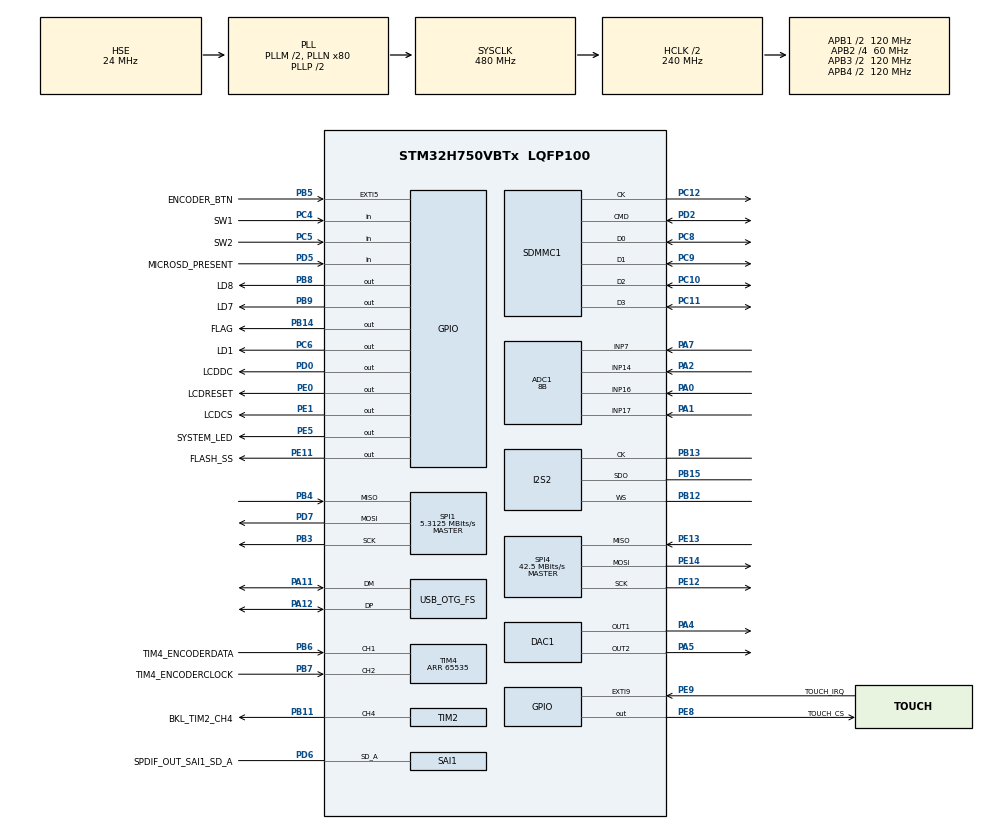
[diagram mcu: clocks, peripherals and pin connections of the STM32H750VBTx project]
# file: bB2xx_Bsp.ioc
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ADC1.Channel-0\#ChannelRegularConversion=ADC_CHANNEL_16
ADC1.Channel-1\#ChannelRegularConversion=ADC_CHANNEL_17
ADC1.Channel-2\#ChannelRegularConversion=ADC_CHANNEL_14
ADC1.Channel-3\#ChannelRegularConversion=ADC_CHANNEL_7
ADC1.ConversionDataManagement=ADC_CONVERSIONDATA_DMA_CIRCULAR
ADC1.EOCSelection=ADC_EOC_SEQ_CONV
ADC1.ExternalTrigConv=ADC_EXTERNALTRIG_T15_TRGO
ADC1.NbrOfConversion=4
ADC1.NbrOfConversionFlag=1
ADC1.OffsetNumber-0\#ChannelRegularConversion=ADC_OFFSET_NONE
ADC1.OffsetNumber-1\#ChannelRegularConversion=ADC_OFFSET_NONE
ADC1.OffsetNumber-2\#ChannelRegularConversion=ADC_OFFSET_NONE
ADC1.OffsetNumber-3\#ChannelRegularConversion=ADC_OFFSET_NONE
ADC1.OffsetSignedSaturation-0\#ChannelRegularConversion=DISABLE
ADC1.OffsetSignedSaturation-1\#ChannelRegularConversion=DISABLE
ADC1.OffsetSignedSaturation-2\#ChannelRegularConversion=DISABLE
ADC1.OffsetSignedSaturation-3\#ChannelRegularConversion=DISABLE
ADC1.OversamplingMode=ENABLE
ADC1.Rank-0\#ChannelRegularConversion=1
ADC1.Rank-1\#ChannelRegularConversion=2
ADC1.Rank-2\#ChannelRegularConversion=3
ADC1.Rank-3\#ChannelRegularConversion=4
ADC1.Ratio=8
ADC1.Resolution=ADC_RESOLUTION_8B
ADC1.RightBitShift=ADC_RIGHTBITSHIFT_3
ADC1.SamplingTime-0\#ChannelRegularConversion=ADC_SAMPLETIME_8CYCLES_5
ADC1.SamplingTime-1\#ChannelRegularConversion=ADC_SAMPLETIME_8CYCLES_5
ADC1.SamplingTime-2\#ChannelRegularConversion=ADC_SAMPLETIME_8CYCLES_5
ADC1.SamplingTime-3\#ChannelRegularConversion=ADC_SAMPLETIME_8CYCLES_5
ADC1.master=1
CORTEX_M7.AccessPermission-Cortex_Memory_Protection_Unit_Region0_Settings=MPU_REGION_FULL_ACCESS
CORTEX_M7.AccessPermission-Cortex_Memory_Protection_Unit_Region1_Settings=MPU_REGION_FULL_ACCESS
CORTEX_M7.BaseAddress-Cortex_Memory_Protection_Unit_Region0_Settings=0x38000000
CORTEX_M7.BaseAddress-Cortex_Memory_Protection_Unit_Region1_Settings=0x20000000
CORTEX_M7.CPU_DCache=Enabled
CORTEX_M7.CPU_ICache=Enabled
CORTEX_M7.Enable-Cortex_Memory_Protection_Unit_Region0_Settings=MPU_REGION_ENABLE
CORTEX_M7.Enable-Cortex_Memory_Protection_Unit_Region1_Settings=MPU_REGION_ENABLE
CORTEX_M7.MPU_Control=MPU_PRIVILEGED_DEFAULT
CORTEX_M7.Size-Cortex_Memory_Protection_Unit_Region0_Settings=MPU_REGION_SIZE_64KB
CORTEX_M7.Size-Cortex_Memory_Protection_Unit_Region1_Settings=MPU_REGION_SIZE_128KB
DAC1.DAC_Channel-DAC_OUT2_ExtAndInt=DAC_CHANNEL_2
DAC1.DAC_Trigger-DAC_OUT1_ExtAndInt=DAC_TRIGGER_T7_TRGO
DAC1.DAC_Trigger-DAC_OUT2_ExtAndInt=DAC_TRIGGER_T7_TRGO
Dma.ADC1.4.Direction=DMA_PERIPH_TO_MEMORY
Dma.ADC1.4.EventEnable=DISABLE
Dma.ADC1.4.FIFOMode=DMA_FIFOMODE_DISABLE
Dma.ADC1.4.Instance=DMA1_Stream4
Dma.ADC1.4.MemDataAlignment=DMA_MDATAALIGN_HALFWORD
Dma.ADC1.4.MemInc=DMA_MINC_ENABLE
Dma.ADC1.4.Mode=DMA_CIRCULAR
Dma.ADC1.4.PeriphDataAlignment=DMA_PDATAALIGN_HALFWORD
Dma.ADC1.4.PeriphInc=DMA_PINC_DISABLE
Dma.ADC1.4.Polarity=HAL_DMAMUX_REQ_GEN_RISING
Dma.ADC1.4.Priority=DMA_PRIORITY_LOW
Dma.ADC1.4.RequestNumber=1
Dma.ADC1.4.SignalID=NONE
Dma.ADC1.4.SyncEnable=DISABLE
Dma.ADC1.4.SyncPolarity=HAL_DMAMUX_SYNC_NO_EVENT
Dma.ADC1.4.SyncRequestNumber=1
Dma.ADC1.4.SyncSignalID=NONE
Dma.DAC1_CH1.1.Direction=DMA_MEMORY_TO_PERIPH
Dma.DAC1_CH1.1.EventEnable=DISABLE
Dma.DAC1_CH1.1.FIFOMode=DMA_FIFOMODE_DISABLE
Dma.DAC1_CH1.1.Instance=DMA1_Stream0
Dma.DAC1_CH1.1.MemDataAlignment=DMA_MDATAALIGN_HALFWORD
Dma.DAC1_CH1.1.MemInc=DMA_MINC_ENABLE
Dma.DAC1_CH1.1.Mode=DMA_CIRCULAR
Dma.DAC1_CH1.1.PeriphDataAlignment=DMA_PDATAALIGN_HALFWORD
Dma.DAC1_CH1.1.PeriphInc=DMA_PINC_DISABLE
Dma.DAC1_CH1.1.Polarity=HAL_DMAMUX_REQ_GEN_RISING
Dma.DAC1_CH1.1.Priority=DMA_PRIORITY_LOW
Dma.DAC1_CH1.1.RequestNumber=1
Dma.DAC1_CH1.1.SignalID=NONE
Dma.DAC1_CH1.1.SyncEnable=DISABLE
Dma.DAC1_CH1.1.SyncPolarity=HAL_DMAMUX_SYNC_NO_EVENT
Dma.DAC1_CH1.1.SyncRequestNumber=1
Dma.DAC1_CH1.1.SyncSignalID=NONE
Dma.Request0=SPI1_TX
Dma.Request1=DAC1_CH1
Dma.Request2=SAI1_A
Dma.Request3=SPI2_TX
Dma.Request4=ADC1
Dma.Request5=SPI4_RX
Dma.Request6=SPI4_TX
Dma.SAI1_A.2.Direction=DMA_MEMORY_TO_PERIPH
Dma.SAI1_A.2.EventEnable=DISABLE
Dma.SAI1_A.2.FIFOMode=DMA_FIFOMODE_DISABLE
Dma.SAI1_A.2.Instance=DMA1_Stream2
Dma.SAI1_A.2.MemDataAlignment=DMA_MDATAALIGN_HALFWORD
Dma.SAI1_A.2.MemInc=DMA_MINC_ENABLE
Dma.SAI1_A.2.Mode=DMA_CIRCULAR
Dma.SAI1_A.2.PeriphDataAlignment=DMA_PDATAALIGN_HALFWORD
Dma.SAI1_A.2.PeriphInc=DMA_PINC_DISABLE
Dma.SAI1_A.2.Polarity=HAL_DMAMUX_REQ_GEN_RISING
Dma.SAI1_A.2.Priority=DMA_PRIORITY_LOW
Dma.SAI1_A.2.RequestNumber=1
Dma.SAI1_A.2.SignalID=NONE
Dma.SAI1_A.2.SyncEnable=DISABLE
Dma.SAI1_A.2.SyncPolarity=HAL_DMAMUX_SYNC_NO_EVENT
Dma.SAI1_A.2.SyncRequestNumber=1
Dma.SAI1_A.2.SyncSignalID=NONE
Dma.SPI1_TX.0.Direction=DMA_MEMORY_TO_PERIPH
Dma.SPI1_TX.0.EventEnable=DISABLE
Dma.SPI1_TX.0.FIFOMode=DMA_FIFOMODE_DISABLE
Dma.SPI1_TX.0.Instance=DMA1_Stream1
Dma.SPI1_TX.0.MemDataAlignment=DMA_MDATAALIGN_BYTE
Dma.SPI1_TX.0.MemInc=DMA_MINC_ENABLE
Dma.SPI1_TX.0.Mode=DMA_NORMAL
Dma.SPI1_TX.0.PeriphDataAlignment=DMA_PDATAALIGN_BYTE
Dma.SPI1_TX.0.PeriphInc=DMA_PINC_DISABLE
Dma.SPI1_TX.0.Polarity=HAL_DMAMUX_REQ_GEN_RISING
Dma.SPI1_TX.0.Priority=DMA_PRIORITY_LOW
Dma.SPI1_TX.0.RequestNumber=1
Dma.SPI1_TX.0.SignalID=NONE
Dma.SPI1_TX.0.SyncEnable=DISABLE
Dma.SPI1_TX.0.SyncPolarity=HAL_DMAMUX_SYNC_NO_EVENT
Dma.SPI1_TX.0.SyncRequestNumber=1
Dma.SPI1_TX.0.SyncSignalID=NONE
Dma.SPI2_TX.3.Direction=DMA_MEMORY_TO_PERIPH
Dma.SPI2_TX.3.EventEnable=DISABLE
Dma.SPI2_TX.3.FIFOMode=DMA_FIFOMODE_DISABLE
Dma.SPI2_TX.3.Instance=DMA1_Stream3
Dma.SPI2_TX.3.MemDataAlignment=DMA_MDATAALIGN_WORD
Dma.SPI2_TX.3.MemInc=DMA_MINC_ENABLE
Dma.SPI2_TX.3.Mode=DMA_CIRCULAR
Dma.SPI2_TX.3.PeriphDataAlignment=DMA_PDATAALIGN_WORD
Dma.SPI2_TX.3.PeriphInc=DMA_PINC_DISABLE
Dma.SPI2_TX.3.Polarity=HAL_DMAMUX_REQ_GEN_RISING
Dma.SPI2_TX.3.Priority=DMA_PRIORITY_LOW
Dma.SPI2_TX.3.RequestNumber=1
Dma.SPI2_TX.3.SignalID=NONE
Dma.SPI2_TX.3.SyncEnable=DISABLE
Dma.SPI2_TX.3.SyncPolarity=HAL_DMAMUX_SYNC_NO_EVENT
Dma.SPI2_TX.3.SyncRequestNumber=1
Dma.SPI2_TX.3.SyncSignalID=NONE
Dma.SPI4_RX.5.Direction=DMA_PERIPH_TO_MEMORY
Dma.SPI4_RX.5.EventEnable=DISABLE
Dma.SPI4_RX.5.FIFOMode=DMA_FIFOMODE_DISABLE
Dma.SPI4_RX.5.Instance=DMA1_Stream5
Dma.SPI4_RX.5.MemDataAlignment=DMA_MDATAALIGN_BYTE
Dma.SPI4_RX.5.MemInc=DMA_MINC_ENABLE
Dma.SPI4_RX.5.Mode=DMA_NORMAL
Dma.SPI4_RX.5.PeriphDataAlignment=DMA_PDATAALIGN_BYTE
Dma.SPI4_RX.5.PeriphInc=DMA_PINC_DISABLE
Dma.SPI4_RX.5.Polarity=HAL_DMAMUX_REQ_GEN_RISING
Dma.SPI4_RX.5.Priority=DMA_PRIORITY_LOW
Dma.SPI4_RX.5.RequestNumber=1
Dma.SPI4_RX.5.SignalID=NONE
Dma.SPI4_RX.5.SyncEnable=DISABLE
Dma.SPI4_RX.5.SyncPolarity=HAL_DMAMUX_SYNC_NO_EVENT
Dma.SPI4_RX.5.SyncRequestNumber=1
Dma.SPI4_RX.5.SyncSignalID=NONE
Dma.SPI4_TX.6.Direction=DMA_MEMORY_TO_PERIPH
Dma.SPI4_TX.6.EventEnable=DISABLE
Dma.SPI4_TX.6.FIFOMode=DMA_FIFOMODE_DISABLE
Dma.SPI4_TX.6.Instance=DMA1_Stream6
Dma.SPI4_TX.6.MemDataAlignment=DMA_MDATAALIGN_BYTE
Dma.SPI4_TX.6.MemInc=DMA_MINC_ENABLE
Dma.SPI4_TX.6.Mode=DMA_NORMAL
Dma.SPI4_TX.6.PeriphDataAlignment=DMA_PDATAALIGN_BYTE
Dma.SPI4_TX.6.PeriphInc=DMA_PINC_DISABLE
Dma.SPI4_TX.6.Polarity=HAL_DMAMUX_REQ_GEN_RISING
Dma.SPI4_TX.6.Priority=DMA_PRIORITY_LOW
Dma.SPI4_TX.6.RequestNumber=1
Dma.SPI4_TX.6.SignalID=NONE
Dma.SPI4_TX.6.SyncEnable=DISABLE
Dma.SPI4_TX.6.SyncPolarity=HAL_DMAMUX_SYNC_NO_EVENT
Dma.SPI4_TX.6.SyncRequestNumber=1
Dma.SPI4_TX.6.SyncSignalID=NONE
FATFS.BSP.number=1
FATFS.USE_DMA_CODE_SD=0
FATFS._FS_LOCK=24
FATFS0.BSP.STBoard=false
FATFS0.BSP.api=Unknown
FATFS0.BSP.i2caddr=0
FATFS0.BSP.instance=PD5
FATFS0.BSP.ip=GPIO
FATFS0.BSP.mode=Input
FATFS0.BSP.name=Detect_SDIO
FATFS0.BSP.solution=PD5
I2S2.AudioFreq=I2S_AUDIOFREQ_48K
I2S2.Data24BitAlignment=I2S_DATA_24BIT_ALIGNMENT_RIGHT
I2S2.DataFormat=I2S_DATAFORMAT_16B
I2S2.ErrorAudioFreq=-0.29 %
I2S2.FullDuplexMode=I2S_MODE_SLAVE_FD
I2S2.Instance=SPI$Index
I2S2.RealAudioFreq=47.86 KHz
I2S2.VirtualMode=I2S_MODE_MASTER
Mcu.Family=STM32H7
Mcu.Name=STM32H750VBTx
Mcu.Package=LQFP100
NVIC.DMA1_Stream0_IRQn=true\:0\:0\:false\:false\:true\:false\:true
NVIC.DMA1_Stream1_IRQn=true\:0\:0\:false\:false\:true\:false\:true
NVIC.DMA1_Stream2_IRQn=true\:0\:0\:false\:false\:true\:false\:true
NVIC.DMA1_Stream3_IRQn=true\:0\:0\:false\:false\:true\:false\:true
NVIC.DMA1_Stream4_IRQn=true\:0\:0\:false\:false\:true\:false\:true
NVIC.DMA1_Stream5_IRQn=true\:0\:0\:false\:false\:true\:false\:true
NVIC.DMA1_Stream6_IRQn=true\:0\:0\:false\:false\:true\:false\:true
NVIC.EXTI9_5_IRQn=true\:0\:0\:false\:false\:true\:true\:true
NVIC.PriorityGroup=NVIC_PRIORITYGROUP_4
NVIC.SPI1_IRQn=true\:0\:0\:false\:false\:true\:false\:true
NVIC.SPI4_IRQn=true\:0\:0\:false\:false\:true\:false\:true
NVIC.TIM17_IRQn=true\:0\:0\:false\:false\:true\:true\:true
NVIC.TIM4_IRQn=true\:0\:0\:false\:false\:true\:true\:true
NVIC.TIM7_IRQn=true\:0\:0\:false\:false\:true\:true\:true
PA0.Mode=IN16-Single-Ended
PA0.Signal=ADC1_INP16
PA1.Mode=IN17-Single-Ended
PA1.Signal=ADC1_INP17
PA11.Mode=Device_Only
PA11.Signal=USB_OTG_FS_DM
PA12.Mode=Device_Only
PA12.Signal=USB_OTG_FS_DP
PA13\ (JTMS/SWDIO).Mode=Serial_Wire
PA13\ (JTMS/SWDIO).Signal=DEBUG_JTMS-SWDIO
PA14\ (JTCK/SWCLK).Mode=Serial_Wire
PA14\ (JTCK/SWCLK).Signal=DEBUG_JTCK-SWCLK
PA2.Signal=ADCx_INP14
PA4.Signal=COMP_DAC11_group
PA5.Signal=COMP_DAC12_group
PA7.Signal=ADCx_INP7
PB11.GPIO_Label=BKL_TIM2_CH4
PB11.GPIO_PuPd=GPIO_PULLDOWN
PB11.Signal=S_TIM2_CH4
PB12.Mode=Half_Duplex_Master
PB12.Signal=I2S2_WS
PB13.Mode=Half_Duplex_Master
PB13.Signal=I2S2_CK
PB14.GPIO_Label=FLAG
PB14.Signal=GPIO_Output
PB15.Mode=Half_Duplex_Master
PB15.Signal=I2S2_SDO
PB3\ (JTDO/TRACESWO).Mode=Full_Duplex_Master
PB3\ (JTDO/TRACESWO).Signal=SPI1_SCK
PB4\ (NJTRST).Mode=Full_Duplex_Master
PB4\ (NJTRST).Signal=SPI1_MISO
PB5.GPIO_Label=ENCODER_BTN
PB5.GPIO_ModeDefaultEXTI=GPIO_MODE_IT_FALLING
PB5.GPIO_PuPd=GPIO_PULLUP
PB5.Signal=GPXTI5
PB6.GPIO_Label=TIM4_ENCODERDATA
PB6.GPIO_PuPd=GPIO_PULLUP
PB6.Signal=S_TIM4_CH1
PB7.GPIO_Label=TIM4_ENCODERCLOCK
PB7.GPIO_PuPd=GPIO_PULLUP
PB7.Signal=S_TIM4_CH2
PB8.GPIO_Label=LD8
PB8.Signal=GPIO_Output
PB9.GPIO_Label=LD7
PB9.Signal=GPIO_Output
PC10.Mode=SD_4_bits_Wide_bus
PC10.Signal=SDMMC1_D2
PC11.Mode=SD_4_bits_Wide_bus
PC11.Signal=SDMMC1_D3
PC12.GPIO_PuPd=GPIO_PULLUP
PC12.Mode=SD_4_bits_Wide_bus
PC12.Signal=SDMMC1_CK
PC4.GPIO_Label=SW1
PC4.GPIO_PuPd=GPIO_PULLUP
PC4.Signal=GPIO_Input
PC5.GPIO_Label=SW2
PC5.GPIO_PuPd=GPIO_PULLUP
PC5.Signal=GPIO_Input
PC6.GPIO_Label=LD1
PC6.Signal=GPIO_Output
PC8.GPIO_PuPd=GPIO_PULLUP
PC8.Mode=SD_4_bits_Wide_bus
PC8.Signal=SDMMC1_D0
PC9.Mode=SD_4_bits_Wide_bus
PC9.Signal=SDMMC1_D1
PD0.GPIO_Label=LCDDC
PD0.Signal=GPIO_Output
PD2.GPIO_PuPd=GPIO_PULLUP
PD2.Mode=SD_4_bits_Wide_bus
PD2.Signal=SDMMC1_CMD
PD5.GPIO_Label=MICROSD_PRESENT
PD5.GPIO_PuPd=GPIO_PULLUP
PD5.Signal=GPIO_Input
PD6.GPIO_Label=SPDIF_OUT_SAI1_SD_A
PD6.Mode=SAI_A_SPDIF
PD6.Signal=SAI1_SD_A
PD7.Mode=Full_Duplex_Master
PD7.Signal=SPI1_MOSI
PE0.GPIO_Label=LCDRESET
PE0.Signal=GPIO_Output
PE1.GPIO_Label=LCDCS
PE1.PinState=GPIO_PIN_SET
PE1.Signal=GPIO_Output
PE11.GPIO_Label=FLASH_SS
PE11.Signal=GPIO_Output
PE12.Mode=Full_Duplex_Master
PE12.Signal=SPI4_SCK
PE13.Mode=Full_Duplex_Master
PE13.Signal=SPI4_MISO
PE14.Mode=Full_Duplex_Master
PE14.Signal=SPI4_MOSI
PE5.GPIO_Label=SYSTEM_LED
PE5.Signal=GPIO_Output
PE8.GPIO_Label=TOUCH_CS
PE8.PinState=GPIO_PIN_SET
PE8.Signal=GPIO_Output
PE9.GPIO_Label=TOUCH_IRQ
PE9.GPIO_ModeDefaultEXTI=GPIO_MODE_IT_FALLING
PE9.GPIO_PuPd=GPIO_PULLUP
PE9.Signal=GPXTI9
PH0-OSC_IN\ (PH0).Mode=HSE-External-Oscillator
PH0-OSC_IN\ (PH0).Signal=RCC_OSC_IN
PH1-OSC_OUT\ (PH1).Mode=HSE-External-Oscillator
PH1-OSC_OUT\ (PH1).Signal=RCC_OSC_OUT
ProjectManager.HeapSize=0x200
ProjectManager.StackSize=0x400
ProjectManager.TargetToolchain=STM32CubeIDE
RCC.ADCCLockSelection=RCC_ADCCLKSOURCE_PLL3
RCC.ADCFreq_Value=8500000
RCC.APB1Freq_Value=120000000
RCC.APB2Freq_Value=60000000
RCC.APB3Freq_Value=120000000
RCC.APB4Freq_Value=120000000
RCC.CortexFreq_Value=60000000
RCC.Cortex_Div=SYSTICK_CLKSOURCE_HCLK_DIV8
RCC.D1PPRE=RCC_APB3_DIV2
RCC.D2PPRE1=RCC_APB1_DIV2
RCC.D2PPRE2=RCC_APB2_DIV4
RCC.D3PPRE=RCC_APB4_DIV2
RCC.DIVM1=2
RCC.DIVM2=15
RCC.DIVM3=24
RCC.DIVN1=80
RCC.DIVN2=192
RCC.DIVN3=170
RCC.DIVP2=25
RCC.DIVP3=1
RCC.DIVQ1=20
RCC.DIVQ2=4
RCC.DIVR1=8
RCC.DIVR3=20
RCC.HCLKFreq_Value=240000000
RCC.HPRE=RCC_HCLK_DIV2
RCC.HSE_VALUE=24000000
RCC.I2C123CLockSelection=RCC_I2C123CLKSOURCE_CSI
RCC.PLLFRACN=0
RCC.PLLSourceVirtual=RCC_PLLSOURCE_HSE
RCC.SAI1CLockSelection=RCC_SAI1CLKSOURCE_PLL2
RCC.SPI123CLockSelection=RCC_SPI123CLKSOURCE_PLL3
RCC.SYSCLKFreq_VALUE=480000000
RCC.SYSCLKSource=RCC_SYSCLKSOURCE_PLLCLK
RCC.Spi45ClockSelection=RCC_SPI45CLKSOURCE_PLL3
RCC.USBCLockSelection=RCC_USBCLKSOURCE_HSI48
RCC.USBFreq_Value=48000000
SAI1.AudioFrequency-SAI_A_SPDIF=SAI_AUDIO_FREQUENCY_48K
SAI1.FIFOThreshold-SAI_A_SPDIF=SAI_FIFOTHRESHOLD_HF
SAI1.Instance-SAI_A_SPDIF=SAI$Index_Block_A
SAI1.MonoStereoMode-SAI_A_SPDIF=SAI_MONOMODE
SAI1.OutputDrive-SAI_A_SPDIF=SAI_OUTPUTDRIVE_ENABLE
SAI1.RealAudioFreq-SAI_A_SPDIF=192.0 KHz
SAI1.VirtualMode-SAI_A_SPDIF=VM_SPDIF
SDMMC1.ClockDiv=3
SDMMC1.HardwareFlowControl=SDMMC_HARDWARE_FLOW_CONTROL_DISABLE
SDMMC1.TransceiverPresent=SDMMC_TRANSCEIVER_NOT_PRESENT
SH.ADCx_INP14.0=ADC1_INP14,IN14-Single-Ended
SH.ADCx_INP7.0=ADC1_INP7,IN7-Single-Ended
SH.COMP_DAC11_group.0=DAC1_OUT1,DAC_OUT1_ExtAndInt
SH.COMP_DAC12_group.0=DAC1_OUT2,DAC_OUT2_ExtAndInt
SH.S_TIM2_CH4.0=TIM2_CH4,PWM Generation4 CH4
SH.S_TIM4_CH1.0=TIM4_CH1,Encoder_Interface
SH.S_TIM4_CH2.0=TIM4_CH2,Encoder_Interface
SPI1.BaudRatePrescaler=SPI_BAUDRATEPRESCALER_32
SPI1.CalculateBaudRate=5.3125 MBits/s
SPI1.DataSize=SPI_DATASIZE_8BIT
SPI1.Direction=SPI_DIRECTION_2LINES
SPI1.FifoThreshold=SPI_FIFO_THRESHOLD_04DATA
SPI1.Mode=SPI_MODE_MASTER
SPI1.VirtualType=VM_MASTER
SPI4.BaudRatePrescaler=SPI_BAUDRATEPRESCALER_2
SPI4.CalculateBaudRate=42.5 MBits/s
SPI4.DataSize=SPI_DATASIZE_8BIT
SPI4.Direction=SPI_DIRECTION_2LINES
SPI4.FifoThreshold=SPI_FIFO_THRESHOLD_08DATA
SPI4.Mode=SPI_MODE_MASTER
SPI4.VirtualType=VM_MASTER
TIM15.Period=10000
TIM15.Prescaler=240
TIM15.TIM_MasterOutputTrigger=TIM_TRGO_UPDATE
TIM17.Period=9999
TIM17.Prescaler=1199
TIM2.Channel-PWM\ Generation4\ CH4=TIM_CHANNEL_4
TIM2.OCPolarity_4=TIM_OCPOLARITY_HIGH
TIM2.Period=1000
TIM2.Prescaler=240
TIM2.Pulse-PWM\ Generation4\ CH4=900
TIM4.EncoderMode=TIM_ENCODERMODE_TI12
TIM4.IC1Filter=15
TIM4.IC1Prescaler=TIM_ICPSC_DIV2
TIM4.IC2Filter=15
TIM4.IC2Polarity=TIM_ICPOLARITY_RISING
TIM4.IC2Prescaler=TIM_ICPSC_DIV2
TIM4.Period=65535
TIM7.Period=1811
TIM7.Prescaler=2
TIM7.TIM_MasterOutputTrigger=TIM_TRGO_UPDATE
USB_OTG_FS.VirtualMode=Device_Only
VP_FATFS_VS_SDIO.Mode=SDIO
VP_TIM15_VS_ClockSourceINT.Mode=Internal
VP_TIM17_VS_ClockSourceINT.Mode=Enable_Timer
VP_TIM7_VS_ClockSourceINT.Mode=Enable_Timer
board=custom

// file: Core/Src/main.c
/* USER CODE BEGIN Header */
/**
  ******************************************************************************
  * @file           : main.c
  * @brief          : Main program body
  ******************************************************************************
  * @attention
  *
  * <h2><center>&copy; Copyright (c) 2021 STMicroelectronics.
  * All rights reserved.</center></h2>
  *
  * This software component is licensed by ST under BSD 3-Clause license,
  * the "License"; You may not use this file except in compliance with the
  * License. You may obtain a copy of the License at:
  *                        opensource.org/licenses/BSD-3-Clause
  *
  ******************************************************************************
  */
/* USER CODE END Header */
#include "main.h"
#include "fatfs.h"

ADC_HandleTypeDef hadc1;
DMA_HandleTypeDef hdma_adc1;

DAC_HandleTypeDef hdac1;
DMA_HandleTypeDef hdma_dac1_ch1;

I2S_HandleTypeDef hi2s2;
DMA_HandleTypeDef hdma_spi2_tx;

SAI_HandleTypeDef hsai_BlockA1;
DMA_HandleTypeDef hdma_sai1_a;

SD_HandleTypeDef hsd1;

SPI_HandleTypeDef hspi1;
SPI_HandleTypeDef hspi4;
DMA_HandleTypeDef hdma_spi1_tx;
DMA_HandleTypeDef hdma_spi4_rx;
DMA_HandleTypeDef hdma_spi4_tx;

TIM_HandleTypeDef htim2;
TIM_HandleTypeDef htim4;
TIM_HandleTypeDef htim7;
TIM_HandleTypeDef htim15;
TIM_HandleTypeDef htim17;

PCD_HandleTypeDef hpcd_USB_OTG_FS;

void SystemClock_Config(void);
static void MPU_Config(void);
static void MX_GPIO_Init(void);
static void MX_DMA_Init(void);
static void MX_SPI4_Init(void);
static void MX_SDMMC1_SD_Init(void);
static void MX_TIM2_Init(void);
static void MX_USB_OTG_FS_PCD_Init(void);
static void MX_TIM17_Init(void);
static void MX_ADC1_Init(void);
static void MX_DAC1_Init(void);
static void MX_I2S2_Init(void);
static void MX_SPI1_Init(void);
static void MX_TIM4_Init(void);
static void MX_SAI1_Init(void);
static void MX_TIM7_Init(void);
static void MX_TIM15_Init(void);
/* USER CODE BEGIN PFP */
uint8_t	flag_usd = 0;
/* USER CODE END PFP */

/* USER CODE BEGIN 0 */
unsigned long this_t,dma_t;
void save_t(unsigned long t)
{
	this_t = t;
}
void save_dmat(unsigned long t)
{
	dma_t = t;
}
/*
 * tim7 values for 44.1KHz
 * prescaler	2
 * counter		1811
 * tim7 values for 22.05KHz
 * prescaler	5
 * counter		1811
 */

/* USER CODE END 0 */

int main(void)
{

  /* MPU Configuration--------------------------------------------------------*/
  MPU_Config();

  /* Enable I-Cache---------------------------------------------------------*/
  SCB_EnableICache();

  /* Enable D-Cache---------------------------------------------------------*/
  SCB_EnableDCache();

  /* MCU Configuration--------------------------------------------------------*/

  /* Reset of all peripherals, Initializes the Flash interface and the Systick. */
  HAL_Init();

  /* Configure the system clock */
  SystemClock_Config();

  /* USER CODE BEGIN SysInit */
  flag_usd = 1;
  /* USER CODE END SysInit */

  /* Initialize all configured peripherals */
  MX_GPIO_Init();
  MX_DMA_Init();
  MX_SPI4_Init();
  MX_SDMMC1_SD_Init();
  MX_TIM2_Init();
  MX_USB_OTG_FS_PCD_Init();
  MX_TIM17_Init();
  MX_ADC1_Init();
  MX_DAC1_Init();
  MX_I2S2_Init();
  MX_SPI1_Init();
  MX_TIM4_Init();
  MX_SAI1_Init();
  MX_TIM7_Init();
  MX_TIM15_Init();
  MX_FATFS_Init();
  /* USER CODE BEGIN 2 */
  bB2xx_Init();
  /* USER CODE END 2 */

  /* Infinite loop */
  /* USER CODE BEGIN WHILE */
  while (1)
  {
	  bB2xx_Loop();
    /* USER CODE END WHILE */

  }
}

void SystemClock_Config(void)
{
  RCC_OscInitTypeDef RCC_OscInitStruct = {0};
  RCC_ClkInitTypeDef RCC_ClkInitStruct = {0};
  RCC_PeriphCLKInitTypeDef PeriphClkInitStruct = {0};

  /** Supply configuration update enable
  */
  HAL_PWREx_ConfigSupply(PWR_LDO_SUPPLY);
  /** Configure the main internal regulator output voltage
  */
  __HAL_PWR_VOLTAGESCALING_CONFIG(PWR_REGULATOR_VOLTAGE_SCALE0);

  while(!__HAL_PWR_GET_FLAG(PWR_FLAG_VOSRDY)) {}
  /** Macro to configure the PLL clock source
  */
  __HAL_RCC_PLL_PLLSOURCE_CONFIG(RCC_PLLSOURCE_HSE);
  /** Initializes the RCC Oscillators according to the specified parameters
  * in the RCC_OscInitTypeDef structure.
  */
  RCC_OscInitStruct.OscillatorType = RCC_OSCILLATORTYPE_HSI48|RCC_OSCILLATORTYPE_HSE;
  RCC_OscInitStruct.HSEState = RCC_HSE_ON;
  RCC_OscInitStruct.HSI48State = RCC_HSI48_ON;
  RCC_OscInitStruct.PLL.PLLState = RCC_PLL_ON;
  RCC_OscInitStruct.PLL.PLLSource = RCC_PLLSOURCE_HSE;
  RCC_OscInitStruct.PLL.PLLM = 2;
  RCC_OscInitStruct.PLL.PLLN = 80;
  RCC_OscInitStruct.PLL.PLLP = 2;
  RCC_OscInitStruct.PLL.PLLQ = 20;
  RCC_OscInitStruct.PLL.PLLR = 8;
  RCC_OscInitStruct.PLL.PLLRGE = RCC_PLL1VCIRANGE_3;
  RCC_OscInitStruct.PLL.PLLVCOSEL = RCC_PLL1VCOWIDE;
  RCC_OscInitStruct.PLL.PLLFRACN = 0;
  if (HAL_RCC_OscConfig(&RCC_OscInitStruct) != HAL_OK)
  {
    Error_Handler();
  }
  /** Initializes the CPU, AHB and APB buses clocks
  */
  RCC_ClkInitStruct.ClockType = RCC_CLOCKTYPE_HCLK|RCC_CLOCKTYPE_SYSCLK
                              |RCC_CLOCKTYPE_PCLK1|RCC_CLOCKTYPE_PCLK2
                              |RCC_CLOCKTYPE_D3PCLK1|RCC_CLOCKTYPE_D1PCLK1;
  RCC_ClkInitStruct.SYSCLKSource = RCC_SYSCLKSOURCE_PLLCLK;
  RCC_ClkInitStruct.SYSCLKDivider = RCC_SYSCLK_DIV1;
  RCC_ClkInitStruct.AHBCLKDivider = RCC_HCLK_DIV2;
  RCC_ClkInitStruct.APB3CLKDivider = RCC_APB3_DIV2;
  RCC_ClkInitStruct.APB1CLKDivider = RCC_APB1_DIV2;
  RCC_ClkInitStruct.APB2CLKDivider = RCC_APB2_DIV4;
  RCC_ClkInitStruct.APB4CLKDivider = RCC_APB4_DIV2;

  if (HAL_RCC_ClockConfig(&RCC_ClkInitStruct, FLASH_LATENCY_4) != HAL_OK)
  {
    Error_Handler();
  }
  PeriphClkInitStruct.PeriphClockSelection = RCC_PERIPHCLK_SPI4|RCC_PERIPHCLK_SPI1
                              |RCC_PERIPHCLK_SPI2|RCC_PERIPHCLK_SAI1
                              |RCC_PERIPHCLK_SDMMC|RCC_PERIPHCLK_ADC
                              |RCC_PERIPHCLK_USB;
  PeriphClkInitStruct.PLL2.PLL2M = 15;
  PeriphClkInitStruct.PLL2.PLL2N = 192;
  PeriphClkInitStruct.PLL2.PLL2P = 25;
  PeriphClkInitStruct.PLL2.PLL2Q = 4;
  PeriphClkInitStruct.PLL2.PLL2R = 2;
  PeriphClkInitStruct.PLL2.PLL2RGE = RCC_PLL2VCIRANGE_0;
  PeriphClkInitStruct.PLL2.PLL2VCOSEL = RCC_PLL2VCOWIDE;
  PeriphClkInitStruct.PLL2.PLL2FRACN = 0;
  PeriphClkInitStruct.PLL3.PLL3M = 24;
  PeriphClkInitStruct.PLL3.PLL3N = 170;
  PeriphClkInitStruct.PLL3.PLL3P = 1;
  PeriphClkInitStruct.PLL3.PLL3Q = 2;
  PeriphClkInitStruct.PLL3.PLL3R = 20;
  PeriphClkInitStruct.PLL3.PLL3RGE = RCC_PLL3VCIRANGE_0;
  PeriphClkInitStruct.PLL3.PLL3VCOSEL = RCC_PLL3VCOMEDIUM;
  PeriphClkInitStruct.PLL3.PLL3FRACN = 0;
  PeriphClkInitStruct.SdmmcClockSelection = RCC_SDMMCCLKSOURCE_PLL;
  PeriphClkInitStruct.Sai1ClockSelection = RCC_SAI1CLKSOURCE_PLL2;
  PeriphClkInitStruct.Spi123ClockSelection = RCC_SPI123CLKSOURCE_PLL3;
  PeriphClkInitStruct.Spi45ClockSelection = RCC_SPI45CLKSOURCE_PLL3;
  PeriphClkInitStruct.UsbClockSelection = RCC_USBCLKSOURCE_HSI48;
  PeriphClkInitStruct.AdcClockSelection = RCC_ADCCLKSOURCE_PLL3;
  if (HAL_RCCEx_PeriphCLKConfig(&PeriphClkInitStruct) != HAL_OK)
  {
    Error_Handler();
  }
  /** Enable USB Voltage detector
  */
  HAL_PWREx_EnableUSBVoltageDetector();
}

static void MX_ADC1_Init(void)
{

  ADC_MultiModeTypeDef multimode = {0};
  ADC_ChannelConfTypeDef sConfig = {0};

  /** Common config
  */
  hadc1.Instance = ADC1;
  hadc1.Init.ClockPrescaler = ADC_CLOCK_ASYNC_DIV1;
  hadc1.Init.Resolution = ADC_RESOLUTION_8B;
  hadc1.Init.ScanConvMode = ADC_SCAN_ENABLE;
  hadc1.Init.EOCSelection = ADC_EOC_SEQ_CONV;
  hadc1.Init.LowPowerAutoWait = DISABLE;
  hadc1.Init.ContinuousConvMode = DISABLE;
  hadc1.Init.NbrOfConversion = 4;
  hadc1.Init.DiscontinuousConvMode = DISABLE;
  hadc1.Init.ExternalTrigConv = ADC_EXTERNALTRIG_T15_TRGO;
  hadc1.Init.ExternalTrigConvEdge = ADC_EXTERNALTRIGCONVEDGE_RISING;
  hadc1.Init.ConversionDataManagement = ADC_CONVERSIONDATA_DMA_CIRCULAR;
  hadc1.Init.Overrun = ADC_OVR_DATA_PRESERVED;
  hadc1.Init.LeftBitShift = ADC_LEFTBITSHIFT_NONE;
  hadc1.Init.OversamplingMode = ENABLE;
  hadc1.Init.Oversampling.Ratio = 8;
  hadc1.Init.Oversampling.RightBitShift = ADC_RIGHTBITSHIFT_3;
  hadc1.Init.Oversampling.TriggeredMode = ADC_TRIGGEREDMODE_SINGLE_TRIGGER;
  hadc1.Init.Oversampling.OversamplingStopReset = ADC_REGOVERSAMPLING_CONTINUED_MODE;
  if (HAL_ADC_Init(&hadc1) != HAL_OK)
  {
    Error_Handler();
  }
  /** Configure the ADC multi-mode
  */
  multimode.Mode = ADC_MODE_INDEPENDENT;
  if (HAL_ADCEx_MultiModeConfigChannel(&hadc1, &multimode) != HAL_OK)
  {
    Error_Handler();
  }
  /** Configure Regular Channel
  */
  sConfig.Channel = ADC_CHANNEL_16;
  sConfig.Rank = ADC_REGULAR_RANK_1;
  sConfig.SamplingTime = ADC_SAMPLETIME_8CYCLES_5;
  sConfig.SingleDiff = ADC_SINGLE_ENDED;
  sConfig.OffsetNumber = ADC_OFFSET_NONE;
  sConfig.Offset = 0;
  sConfig.OffsetSignedSaturation = DISABLE;
  if (HAL_ADC_ConfigChannel(&hadc1, &sConfig) != HAL_OK)
  {
    Error_Handler();
  }
  /** Configure Regular Channel
  */
  sConfig.Channel = ADC_CHANNEL_17;
  sConfig.Rank = ADC_REGULAR_RANK_2;
  if (HAL_ADC_ConfigChannel(&hadc1, &sConfig) != HAL_OK)
  {
    Error_Handler();
  }
  /** Configure Regular Channel
  */
  sConfig.Channel = ADC_CHANNEL_14;
  sConfig.Rank = ADC_REGULAR_RANK_3;
  if (HAL_ADC_ConfigChannel(&hadc1, &sConfig) != HAL_OK)
  {
    Error_Handler();
  }
  /** Configure Regular Channel
  */
  sConfig.Channel = ADC_CHANNEL_7;
  sConfig.Rank = ADC_REGULAR_RANK_4;
  if (HAL_ADC_ConfigChannel(&hadc1, &sConfig) != HAL_OK)
  {
    Error_Handler();
  }

}

static void MX_DAC1_Init(void)
{

  DAC_ChannelConfTypeDef sConfig = {0};

  /** DAC Initialization
  */
  hdac1.Instance = DAC1;
  if (HAL_DAC_Init(&hdac1) != HAL_OK)
  {
    Error_Handler();
  }
  /** DAC channel OUT1 config
  */
  sConfig.DAC_SampleAndHold = DAC_SAMPLEANDHOLD_DISABLE;
  sConfig.DAC_Trigger = DAC_TRIGGER_T7_TRGO;
  sConfig.DAC_OutputBuffer = DAC_OUTPUTBUFFER_ENABLE;
  sConfig.DAC_ConnectOnChipPeripheral = DAC_CHIPCONNECT_ENABLE;
  sConfig.DAC_UserTrimming = DAC_TRIMMING_FACTORY;
  if (HAL_DAC_ConfigChannel(&hdac1, &sConfig, DAC_CHANNEL_1) != HAL_OK)
  {
    Error_Handler();
  }
  /** DAC channel OUT2 config
  */
  sConfig.DAC_ConnectOnChipPeripheral = DAC_CHIPCONNECT_ENABLE;
  if (HAL_DAC_ConfigChannel(&hdac1, &sConfig, DAC_CHANNEL_2) != HAL_OK)
  {
    Error_Handler();
  }

}

static void MX_I2S2_Init(void)
{

  hi2s2.Instance = SPI2;
  hi2s2.Init.Mode = I2S_MODE_MASTER_TX;
  hi2s2.Init.Standard = I2S_STANDARD_PHILIPS;
  hi2s2.Init.DataFormat = I2S_DATAFORMAT_16B;
  hi2s2.Init.MCLKOutput = I2S_MCLKOUTPUT_DISABLE;
  hi2s2.Init.AudioFreq = I2S_AUDIOFREQ_48K;
  hi2s2.Init.CPOL = I2S_CPOL_LOW;
  hi2s2.Init.FirstBit = I2S_FIRSTBIT_MSB;
  hi2s2.Init.WSInversion = I2S_WS_INVERSION_DISABLE;
  hi2s2.Init.Data24BitAlignment = I2S_DATA_24BIT_ALIGNMENT_RIGHT;
  hi2s2.Init.MasterKeepIOState = I2S_MASTER_KEEP_IO_STATE_DISABLE;
  if (HAL_I2S_Init(&hi2s2) != HAL_OK)
  {
    Error_Handler();
  }

}

static void MX_SAI1_Init(void)
{

  hsai_BlockA1.Instance = SAI1_Block_A;
  hsai_BlockA1.Init.Protocol = SAI_SPDIF_PROTOCOL;
  hsai_BlockA1.Init.AudioMode = SAI_MODEMASTER_TX;
  hsai_BlockA1.Init.Synchro = SAI_ASYNCHRONOUS;
  hsai_BlockA1.Init.OutputDrive = SAI_OUTPUTDRIVE_ENABLE;
  hsai_BlockA1.Init.FIFOThreshold = SAI_FIFOTHRESHOLD_HF;
  hsai_BlockA1.Init.AudioFrequency = SAI_AUDIO_FREQUENCY_48K;
  hsai_BlockA1.Init.MonoStereoMode = SAI_MONOMODE;
  hsai_BlockA1.Init.CompandingMode = SAI_NOCOMPANDING;
  hsai_BlockA1.Init.PdmInit.Activation = DISABLE;
  hsai_BlockA1.Init.PdmInit.MicPairsNbr = 1;
  hsai_BlockA1.Init.PdmInit.ClockEnable = SAI_PDM_CLOCK1_ENABLE;
  if (HAL_SAI_Init(&hsai_BlockA1) != HAL_OK)
  {
    Error_Handler();
  }

}

static void MX_SDMMC1_SD_Init(void)
{

  /* USER CODE BEGIN SDMMC1_Init 0 */
	if ( HAL_GPIO_ReadPin(MICROSD_PRESENT_GPIO_Port,MICROSD_PRESENT_Pin) == GPIO_PIN_SET)
		return;
	flag_usd = 1;
  /* USER CODE END SDMMC1_Init 0 */

  hsd1.Instance = SDMMC1;
  hsd1.Init.ClockEdge = SDMMC_CLOCK_EDGE_RISING;
  hsd1.Init.ClockPowerSave = SDMMC_CLOCK_POWER_SAVE_DISABLE;
  hsd1.Init.BusWide = SDMMC_BUS_WIDE_4B;
  hsd1.Init.HardwareFlowControl = SDMMC_HARDWARE_FLOW_CONTROL_DISABLE;
  hsd1.Init.ClockDiv = 3;
  hsd1.Init.TranceiverPresent = SDMMC_TRANSCEIVER_NOT_PRESENT;
  /* USER CODE BEGIN SDMMC1_Init 2 */
  flag_usd = 0;
  /* USER CODE END SDMMC1_Init 2 */

}

static void MX_SPI1_Init(void)
{

  /* SPI1 parameter configuration*/
  hspi1.Instance = SPI1;
  hspi1.Init.Mode = SPI_MODE_MASTER;
  hspi1.Init.Direction = SPI_DIRECTION_2LINES;
  hspi1.Init.DataSize = SPI_DATASIZE_8BIT;
  hspi1.Init.CLKPolarity = SPI_POLARITY_LOW;
  hspi1.Init.CLKPhase = SPI_PHASE_1EDGE;
  hspi1.Init.NSS = SPI_NSS_SOFT;
  hspi1.Init.BaudRatePrescaler = SPI_BAUDRATEPRESCALER_32;
  hspi1.Init.FirstBit = SPI_FIRSTBIT_MSB;
  hspi1.Init.TIMode = SPI_TIMODE_DISABLE;
  hspi1.Init.CRCCalculation = SPI_CRCCALCULATION_DISABLE;
  hspi1.Init.CRCPolynomial = 0x0;
  hspi1.Init.NSSPMode = SPI_NSS_PULSE_ENABLE;
  hspi1.Init.NSSPolarity = SPI_NSS_POLARITY_LOW;
  hspi1.Init.FifoThreshold = SPI_FIFO_THRESHOLD_04DATA;
  hspi1.Init.TxCRCInitializationPattern = SPI_CRC_INITIALIZATION_ALL_ZERO_PATTERN;
  hspi1.Init.RxCRCInitializationPattern = SPI_CRC_INITIALIZATION_ALL_ZERO_PATTERN;
  hspi1.Init.MasterSSIdleness = SPI_MASTER_SS_IDLENESS_00CYCLE;
  hspi1.Init.MasterInterDataIdleness = SPI_MASTER_INTERDATA_IDLENESS_00CYCLE;
  hspi1.Init.MasterReceiverAutoSusp = SPI_MASTER_RX_AUTOSUSP_DISABLE;
  hspi1.Init.MasterKeepIOState = SPI_MASTER_KEEP_IO_STATE_DISABLE;
  hspi1.Init.IOSwap = SPI_IO_SWAP_DISABLE;
  if (HAL_SPI_Init(&hspi1) != HAL_OK)
  {
    Error_Handler();
  }

}

static void MX_SPI4_Init(void)
{

  /* SPI4 parameter configuration*/
  hspi4.Instance = SPI4;
  hspi4.Init.Mode = SPI_MODE_MASTER;
  hspi4.Init.Direction = SPI_DIRECTION_2LINES;
  hspi4.Init.DataSize = SPI_DATASIZE_8BIT;
  hspi4.Init.CLKPolarity = SPI_POLARITY_LOW;
  hspi4.Init.CLKPhase = SPI_PHASE_1EDGE;
  hspi4.Init.NSS = SPI_NSS_SOFT;
  hspi4.Init.BaudRatePrescaler = SPI_BAUDRATEPRESCALER_2;
  hspi4.Init.FirstBit = SPI_FIRSTBIT_MSB;
  hspi4.Init.TIMode = SPI_TIMODE_DISABLE;
  hspi4.Init.CRCCalculation = SPI_CRCCALCULATION_DISABLE;
  hspi4.Init.CRCPolynomial = 0x0;
  hspi4.Init.NSSPMode = SPI_NSS_PULSE_ENABLE;
  hspi4.Init.NSSPolarity = SPI_NSS_POLARITY_LOW;
  hspi4.Init.FifoThreshold = SPI_FIFO_THRESHOLD_08DATA;
  hspi4.Init.TxCRCInitializationPattern = SPI_CRC_INITIALIZATION_ALL_ZERO_PATTERN;
  hspi4.Init.RxCRCInitializationPattern = SPI_CRC_INITIALIZATION_ALL_ZERO_PATTERN;
  hspi4.Init.MasterSSIdleness = SPI_MASTER_SS_IDLENESS_00CYCLE;
  hspi4.Init.MasterInterDataIdleness = SPI_MASTER_INTERDATA_IDLENESS_00CYCLE;
  hspi4.Init.MasterReceiverAutoSusp = SPI_MASTER_RX_AUTOSUSP_DISABLE;
  hspi4.Init.MasterKeepIOState = SPI_MASTER_KEEP_IO_STATE_DISABLE;
  hspi4.Init.IOSwap = SPI_IO_SWAP_DISABLE;
  if (HAL_SPI_Init(&hspi4) != HAL_OK)
  {
    Error_Handler();
  }

}

static void MX_TIM2_Init(void)
{

  TIM_MasterConfigTypeDef sMasterConfig = {0};
  TIM_OC_InitTypeDef sConfigOC = {0};

  htim2.Instance = TIM2;
  htim2.Init.Prescaler = 240;
  htim2.Init.CounterMode = TIM_COUNTERMODE_UP;
  htim2.Init.Period = 1000;
  htim2.Init.ClockDivision = TIM_CLOCKDIVISION_DIV1;
  htim2.Init.AutoReloadPreload = TIM_AUTORELOAD_PRELOAD_DISABLE;
  if (HAL_TIM_PWM_Init(&htim2) != HAL_OK)
  {
    Error_Handler();
  }
  sMasterConfig.MasterOutputTrigger = TIM_TRGO_RESET;
  sMasterConfig.MasterSlaveMode = TIM_MASTERSLAVEMODE_DISABLE;
  if (HAL_TIMEx_MasterConfigSynchronization(&htim2, &sMasterConfig) != HAL_OK)
  {
    Error_Handler();
  }
  sConfigOC.OCMode = TIM_OCMODE_PWM1;
  sConfigOC.Pulse = 900;
  sConfigOC.OCPolarity = TIM_OCPOLARITY_HIGH;
  sConfigOC.OCFastMode = TIM_OCFAST_DISABLE;
  if (HAL_TIM_PWM_ConfigChannel(&htim2, &sConfigOC, TIM_CHANNEL_4) != HAL_OK)
  {
    Error_Handler();
  }
  HAL_TIM_MspPostInit(&htim2);

}

static void MX_TIM4_Init(void)
{

  TIM_Encoder_InitTypeDef sConfig = {0};
  TIM_MasterConfigTypeDef sMasterConfig = {0};

  htim4.Instance = TIM4;
  htim4.Init.Prescaler = 0;
  htim4.Init.CounterMode = TIM_COUNTERMODE_UP;
  htim4.Init.Period = 65535;
  htim4.Init.ClockDivision = TIM_CLOCKDIVISION_DIV1;
  htim4.Init.AutoReloadPreload = TIM_AUTORELOAD_PRELOAD_DISABLE;
  sConfig.EncoderMode = TIM_ENCODERMODE_TI12;
  sConfig.IC1Polarity = TIM_ICPOLARITY_RISING;
  sConfig.IC1Selection = TIM_ICSELECTION_DIRECTTI;
  sConfig.IC1Prescaler = TIM_ICPSC_DIV2;
  sConfig.IC1Filter = 15;
  sConfig.IC2Polarity = TIM_ICPOLARITY_RISING;
  sConfig.IC2Selection = TIM_ICSELECTION_DIRECTTI;
  sConfig.IC2Prescaler = TIM_ICPSC_DIV2;
  sConfig.IC2Filter = 15;
  if (HAL_TIM_Encoder_Init(&htim4, &sConfig) != HAL_OK)
  {
    Error_Handler();
  }
  sMasterConfig.MasterOutputTrigger = TIM_TRGO_RESET;
  sMasterConfig.MasterSlaveMode = TIM_MASTERSLAVEMODE_DISABLE;
  if (HAL_TIMEx_MasterConfigSynchronization(&htim4, &sMasterConfig) != HAL_OK)
  {
    Error_Handler();
  }

}

static void MX_TIM7_Init(void)
{

  TIM_MasterConfigTypeDef sMasterConfig = {0};

  htim7.Instance = TIM7;
  htim7.Init.Prescaler = 2;
  htim7.Init.CounterMode = TIM_COUNTERMODE_UP;
  htim7.Init.Period = 1811;
  htim7.Init.AutoReloadPreload = TIM_AUTORELOAD_PRELOAD_DISABLE;
  if (HAL_TIM_Base_Init(&htim7) != HAL_OK)
  {
    Error_Handler();
  }
  sMasterConfig.MasterOutputTrigger = TIM_TRGO_UPDATE;
  sMasterConfig.MasterSlaveMode = TIM_MASTERSLAVEMODE_DISABLE;
  if (HAL_TIMEx_MasterConfigSynchronization(&htim7, &sMasterConfig) != HAL_OK)
  {
    Error_Handler();
  }

}

static void MX_TIM15_Init(void)
{

  TIM_ClockConfigTypeDef sClockSourceConfig = {0};
  TIM_MasterConfigTypeDef sMasterConfig = {0};

  htim15.Instance = TIM15;
  htim15.Init.Prescaler = 240;
  htim15.Init.CounterMode = TIM_COUNTERMODE_UP;
  htim15.Init.Period = 10000;
  htim15.Init.ClockDivision = TIM_CLOCKDIVISION_DIV1;
  htim15.Init.RepetitionCounter = 0;
  htim15.Init.AutoReloadPreload = TIM_AUTORELOAD_PRELOAD_DISABLE;
  if (HAL_TIM_Base_Init(&htim15) != HAL_OK)
  {
    Error_Handler();
  }
  sClockSourceConfig.ClockSource = TIM_CLOCKSOURCE_INTERNAL;
  if (HAL_TIM_ConfigClockSource(&htim15, &sClockSourceConfig) != HAL_OK)
  {
    Error_Handler();
  }
  sMasterConfig.MasterOutputTrigger = TIM_TRGO_UPDATE;
  sMasterConfig.MasterSlaveMode = TIM_MASTERSLAVEMODE_DISABLE;
  if (HAL_TIMEx_MasterConfigSynchronization(&htim15, &sMasterConfig) != HAL_OK)
  {
    Error_Handler();
  }

}

static void MX_TIM17_Init(void)
{

  htim17.Instance = TIM17;
  htim17.Init.Prescaler = 1199;
  htim17.Init.CounterMode = TIM_COUNTERMODE_UP;
  htim17.Init.Period = 9999;
  htim17.Init.ClockDivision = TIM_CLOCKDIVISION_DIV1;
  htim17.Init.RepetitionCounter = 0;
  htim17.Init.AutoReloadPreload = TIM_AUTORELOAD_PRELOAD_DISABLE;
  if (HAL_TIM_Base_Init(&htim17) != HAL_OK)
  {
    Error_Handler();
  }

}

static void MX_USB_OTG_FS_PCD_Init(void)
{

  hpcd_USB_OTG_FS.Instance = USB_OTG_FS;
  hpcd_USB_OTG_FS.Init.dev_endpoints = 9;
  hpcd_USB_OTG_FS.Init.speed = PCD_SPEED_FULL;
  hpcd_USB_OTG_FS.Init.dma_enable = DISABLE;
  hpcd_USB_OTG_FS.Init.phy_itface = PCD_PHY_EMBEDDED;
  hpcd_USB_OTG_FS.Init.Sof_enable = DISABLE;
  hpcd_USB_OTG_FS.Init.low_power_enable = DISABLE;
  hpcd_USB_OTG_FS.Init.lpm_enable = DISABLE;
  hpcd_USB_OTG_FS.Init.battery_charging_enable = DISABLE;
  hpcd_USB_OTG_FS.Init.vbus_sensing_enable = DISABLE;
  hpcd_USB_OTG_FS.Init.use_dedicated_ep1 = DISABLE;
  if (HAL_PCD_Init(&hpcd_USB_OTG_FS) != HAL_OK)
  {
    Error_Handler();
  }

}

static void MX_DMA_Init(void)
{

  /* DMA controller clock enable */
  __HAL_RCC_DMA1_CLK_ENABLE();

  /* DMA interrupt init */
  /* DMA1_Stream0_IRQn interrupt configuration */
  HAL_NVIC_SetPriority(DMA1_Stream0_IRQn, 0, 0);
  HAL_NVIC_EnableIRQ(DMA1_Stream0_IRQn);
  /* DMA1_Stream1_IRQn interrupt configuration */
  HAL_NVIC_SetPriority(DMA1_Stream1_IRQn, 0, 0);
  HAL_NVIC_EnableIRQ(DMA1_Stream1_IRQn);
  /* DMA1_Stream2_IRQn interrupt configuration */
  HAL_NVIC_SetPriority(DMA1_Stream2_IRQn, 0, 0);
  HAL_NVIC_EnableIRQ(DMA1_Stream2_IRQn);
  /* DMA1_Stream3_IRQn interrupt configuration */
  HAL_NVIC_SetPriority(DMA1_Stream3_IRQn, 0, 0);
  HAL_NVIC_EnableIRQ(DMA1_Stream3_IRQn);
  /* DMA1_Stream4_IRQn interrupt configuration */
  HAL_NVIC_SetPriority(DMA1_Stream4_IRQn, 0, 0);
  HAL_NVIC_EnableIRQ(DMA1_Stream4_IRQn);
  /* DMA1_Stream5_IRQn interrupt configuration */
  HAL_NVIC_SetPriority(DMA1_Stream5_IRQn, 0, 0);
  HAL_NVIC_EnableIRQ(DMA1_Stream5_IRQn);
  /* DMA1_Stream6_IRQn interrupt configuration */
  HAL_NVIC_SetPriority(DMA1_Stream6_IRQn, 0, 0);
  HAL_NVIC_EnableIRQ(DMA1_Stream6_IRQn);

}

static void MX_GPIO_Init(void)
{
  GPIO_InitTypeDef GPIO_InitStruct = {0};

  /* GPIO Ports Clock Enable */
  __HAL_RCC_GPIOE_CLK_ENABLE();
  __HAL_RCC_GPIOH_CLK_ENABLE();
  __HAL_RCC_GPIOA_CLK_ENABLE();
  __HAL_RCC_GPIOC_CLK_ENABLE();
  __HAL_RCC_GPIOB_CLK_ENABLE();
  __HAL_RCC_GPIOD_CLK_ENABLE();

  /*Configure GPIO pin Output Level */
  HAL_GPIO_WritePin(GPIOE, SYSTEM_LED_Pin|FLASH_SS_Pin|LCDRESET_Pin, GPIO_PIN_RESET);

  /*Configure GPIO pin Output Level */
  HAL_GPIO_WritePin(GPIOE, TOUCH_CS_Pin|LCDCS_Pin, GPIO_PIN_SET);

  /*Configure GPIO pin Output Level */
  HAL_GPIO_WritePin(GPIOB, FLAG_Pin|LD8_Pin|LD7_Pin, GPIO_PIN_RESET);

  /*Configure GPIO pin Output Level */
  HAL_GPIO_WritePin(LD1_GPIO_Port, LD1_Pin, GPIO_PIN_RESET);

  /*Configure GPIO pin Output Level */
  HAL_GPIO_WritePin(LCDDC_GPIO_Port, LCDDC_Pin, GPIO_PIN_RESET);

  /*Configure GPIO pins : SYSTEM_LED_Pin TOUCH_CS_Pin FLASH_SS_Pin LCDRESET_Pin
                           LCDCS_Pin */
  GPIO_InitStruct.Pin = SYSTEM_LED_Pin|TOUCH_CS_Pin|FLASH_SS_Pin|LCDRESET_Pin
                          |LCDCS_Pin;
  GPIO_InitStruct.Mode = GPIO_MODE_OUTPUT_PP;
  GPIO_InitStruct.Pull = GPIO_NOPULL;
  GPIO_InitStruct.Speed = GPIO_SPEED_FREQ_LOW;
  HAL_GPIO_Init(GPIOE, &GPIO_InitStruct);

  /*Configure GPIO pins : SW1_Pin SW2_Pin */
  GPIO_InitStruct.Pin = SW1_Pin|SW2_Pin;
  GPIO_InitStruct.Mode = GPIO_MODE_INPUT;
  GPIO_InitStruct.Pull = GPIO_PULLUP;
  HAL_GPIO_Init(GPIOC, &GPIO_InitStruct);

  /*Configure GPIO pin : TOUCH_IRQ_Pin */
  GPIO_InitStruct.Pin = TOUCH_IRQ_Pin;
  GPIO_InitStruct.Mode = GPIO_MODE_IT_FALLING;
  GPIO_InitStruct.Pull = GPIO_PULLUP;
  HAL_GPIO_Init(TOUCH_IRQ_GPIO_Port, &GPIO_InitStruct);

  /*Configure GPIO pins : FLAG_Pin LD8_Pin LD7_Pin */
  GPIO_InitStruct.Pin = FLAG_Pin|LD8_Pin|LD7_Pin;
  GPIO_InitStruct.Mode = GPIO_MODE_OUTPUT_PP;
  GPIO_InitStruct.Pull = GPIO_NOPULL;
  GPIO_InitStruct.Speed = GPIO_SPEED_FREQ_LOW;
  HAL_GPIO_Init(GPIOB, &GPIO_InitStruct);

  /*Configure GPIO pin : LD1_Pin */
  GPIO_InitStruct.Pin = LD1_Pin;
  GPIO_InitStruct.Mode = GPIO_MODE_OUTPUT_PP;
  GPIO_InitStruct.Pull = GPIO_NOPULL;
  GPIO_InitStruct.Speed = GPIO_SPEED_FREQ_LOW;
  HAL_GPIO_Init(LD1_GPIO_Port, &GPIO_InitStruct);

  /*Configure GPIO pin : LCDDC_Pin */
  GPIO_InitStruct.Pin = LCDDC_Pin;
  GPIO_InitStruct.Mode = GPIO_MODE_OUTPUT_PP;
  GPIO_InitStruct.Pull = GPIO_NOPULL;
  GPIO_InitStruct.Speed = GPIO_SPEED_FREQ_LOW;
  HAL_GPIO_Init(LCDDC_GPIO_Port, &GPIO_InitStruct);

  /*Configure GPIO pin : MICROSD_PRESENT_Pin */
  GPIO_InitStruct.Pin = MICROSD_PRESENT_Pin;
  GPIO_InitStruct.Mode = GPIO_MODE_INPUT;
  GPIO_InitStruct.Pull = GPIO_PULLUP;
  HAL_GPIO_Init(MICROSD_PRESENT_GPIO_Port, &GPIO_InitStruct);

  /*Configure GPIO pin : ENCODER_BTN_Pin */
  GPIO_InitStruct.Pin = ENCODER_BTN_Pin;
  GPIO_InitStruct.Mode = GPIO_MODE_IT_FALLING;
  GPIO_InitStruct.Pull = GPIO_PULLUP;
  HAL_GPIO_Init(ENCODER_BTN_GPIO_Port, &GPIO_InitStruct);

  /* EXTI interrupt init*/
  HAL_NVIC_SetPriority(EXTI9_5_IRQn, 0, 0);
  HAL_NVIC_EnableIRQ(EXTI9_5_IRQn);

}

/* MPU Configuration */

void MPU_Config(void)
{
  MPU_Region_InitTypeDef MPU_InitStruct = {0};

  /* Disables the MPU */
  HAL_MPU_Disable();
  /** Initializes and configures the Region and the memory to be protected
  */
  MPU_InitStruct.Enable = MPU_REGION_ENABLE;
  MPU_InitStruct.Number = MPU_REGION_NUMBER0;
  MPU_InitStruct.BaseAddress = 0x38000000;
  MPU_InitStruct.Size = MPU_REGION_SIZE_64KB;
  MPU_InitStruct.SubRegionDisable = 0x0;
  MPU_InitStruct.TypeExtField = MPU_TEX_LEVEL0;
  MPU_InitStruct.AccessPermission = MPU_REGION_FULL_ACCESS;
  MPU_InitStruct.DisableExec = MPU_INSTRUCTION_ACCESS_ENABLE;
  MPU_InitStruct.IsShareable = MPU_ACCESS_NOT_SHAREABLE;
  MPU_InitStruct.IsCacheable = MPU_ACCESS_NOT_CACHEABLE;
  MPU_InitStruct.IsBufferable = MPU_ACCESS_NOT_BUFFERABLE;

  HAL_MPU_ConfigRegion(&MPU_InitStruct);
  /** Initializes and configures the Region and the memory to be protected
  */
  MPU_InitStruct.Enable = MPU_REGION_ENABLE;
  MPU_InitStruct.Number = MPU_REGION_NUMBER1;
  MPU_InitStruct.BaseAddress = 0x20000000;
  MPU_InitStruct.Size = MPU_REGION_SIZE_128KB;
  MPU_InitStruct.SubRegionDisable = 0x0;
  MPU_InitStruct.TypeExtField = MPU_TEX_LEVEL0;
  MPU_InitStruct.AccessPermission = MPU_REGION_FULL_ACCESS;
  MPU_InitStruct.DisableExec = MPU_INSTRUCTION_ACCESS_ENABLE;
  MPU_InitStruct.IsShareable = MPU_ACCESS_NOT_SHAREABLE;
  MPU_InitStruct.IsCacheable = MPU_ACCESS_NOT_CACHEABLE;
  MPU_InitStruct.IsBufferable = MPU_ACCESS_NOT_BUFFERABLE;

  HAL_MPU_ConfigRegion(&MPU_InitStruct);
  /* Enables the MPU */
  HAL_MPU_Enable(MPU_PRIVILEGED_DEFAULT);

}

void Error_Handler(void)
{
  /* USER CODE BEGIN Error_Handler_Debug */
  /* User can add his own implementation to report the HAL error return state */
	if (   flag_usd == 0 )
	{
		__disable_irq();
		while (1)
		{
		}
	}
	else
	{
		HAL_SD_DeInit(&hsd1);	// deinit card so can be initilized later
		bB2xx_Set_NO_MicroSD_Flag();
		return;
	}
  /* USER CODE END Error_Handler_Debug */
}

/************************ (C) COPYRIGHT STMicroelectronics *****END OF FILE****/
